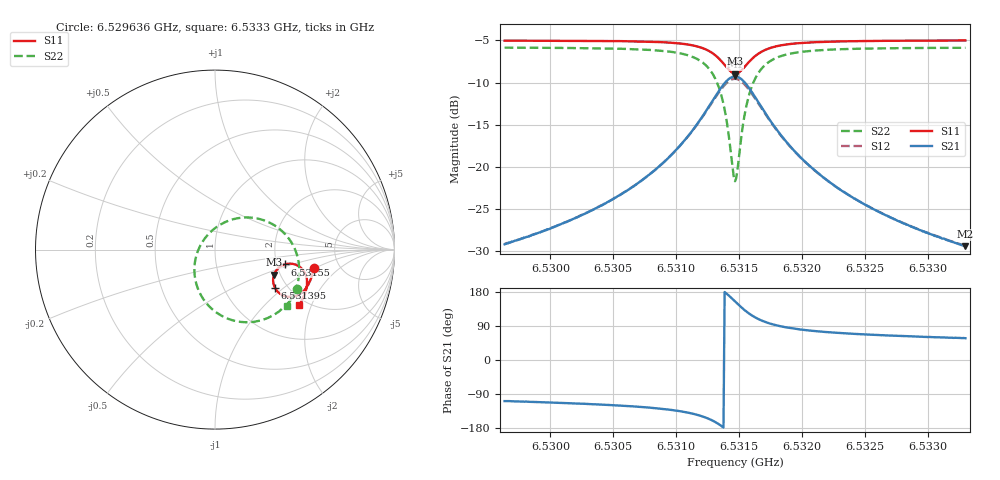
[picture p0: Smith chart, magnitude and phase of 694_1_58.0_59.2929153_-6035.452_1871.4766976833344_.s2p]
#  HZ  S  RI  R  50.00
! Rohde & Schwarz Vector Network Analyzer
! Rohde-Schwarz,ZNB20-2Port,1311601062101988,3.16
! Created: UTC 3/21/2024, 1:21:23 AM
! freq[Hz]  re:S11  im:S11  re:S21  im:S21  re:S12  im:S12  re:S22  im:S22
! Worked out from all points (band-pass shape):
!   401 points, 6.529636 GHz to 6.5333 GHz, reference 50 ohm
!   highest |S21| = -9.28 dB at 6.531468 GHz (marker M1); lowest = -29.4 dB at 6.5333 GHz (marker M2)
!   |S21| within 3 dB of the highest: 6.531284 GHz to 6.531651 GHz (366.6 kHz wide, 0.00561 % of centre)
!   lowest |S11| = -8.9 dB at 6.531468 GHz (marker M3), VSWR 2.11, Z = 93 - j29.6 ohm
!   |S11| at or under -10 dB: nowhere
!   |S22| runs from -21.7 to -5.9 dB; largest |S21 - S12| = 0.015
!   S11 on the Smith chart (normalised r, x): 6.529636 GHz: 3.23, -0.97; 6.531395 GHz: 1.73, -0.87; 6.53155 GHz: 2.21, -0.43; 6.5333 GHz: 1.83, -1.64
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6.5296362e9  0.5506 -0.1029  -0.011 -0.0329  -0.0117 -0.0328  0.4579 -0.2223
6.5302499e9  0.5371 -0.1551  -0.0222 -0.0468  -0.0234 -0.0462  0.421 -0.2806
6.5305887e9  0.5237 -0.1877  -0.0363 -0.0607  -0.0382 -0.0597  0.3837 -0.3219
6.5308635e9  0.5041 -0.2191  -0.0618 -0.0791  -0.0641 -0.0771  0.3268 -0.3642
6.5310833e9  0.4714 -0.2486  -0.1106 -0.099  -0.1136 -0.0947  0.2295 -0.4001
6.531239e9  0.4198 -0.2637  -0.191 -0.0995  -0.1929 -0.091  0.0845 -0.3896
6.5313306e9  0.369 -0.2502  -0.2689 -0.0593  -0.266 -0.0475  -0.0419 -0.3057
6.5313672e9  0.3471 -0.232  -0.3007 -0.0218  -0.2943 -0.00983  -0.0875 -0.2362
6.5313947e9  0.3336 -0.2117  -0.3189 0.0169  -0.3095 0.0279  -0.1095 -0.1683
6.5314496e9  0.3246 -0.1579  -0.3225 0.1139  -0.3089 0.1192  -0.0959 -0.00886
6.5314679e9  0.3293 -0.1388  -0.3107 0.1468  -0.2969 0.1495  -0.0705 0.0422
6.5314862e9  0.3382 -0.1213  -0.2928 0.1767  -0.2795 0.1771  -0.0358 0.0873
6.5315229e9  0.3641 -0.0942  -0.2435 0.2217  -0.2325 0.2184  0.0529 0.1517
6.5315504e9  0.3874 -0.0827  -0.2014 0.2404  -0.1927 0.2356  0.1254 0.1747
6.5315778e9  0.4105 -0.0783  -0.1607 0.2471  -0.1545 0.2423  0.1939 0.1789
6.5316145e9  0.4376 -0.0806  -0.1139 0.2431  -0.1097 0.2388  0.2715 0.1636
6.5317061e9  0.4818 -0.1047  -0.0387 0.2062  -0.0371 0.2036  0.3921 0.0847
6.5318434e9  0.507 -0.1443  0.00496 0.1504  0.00623 0.1496  0.4556 -0.0253
6.5320815e9  0.5129 -0.1917  0.022 0.0958  0.0232 0.0953  0.4685 -0.1369
6.5323655e9  0.5063 -0.2284  0.0235 0.0642  0.0245 0.064  0.455 -0.207
6.5326952e9  0.4946 -0.2604  0.0217 0.0456  0.0225 0.0453  0.4353 -0.2561
6.5332996e9  0.4703 -0.3072  0.0182 0.0286  0.0188 0.0283  0.4001 -0.3134
